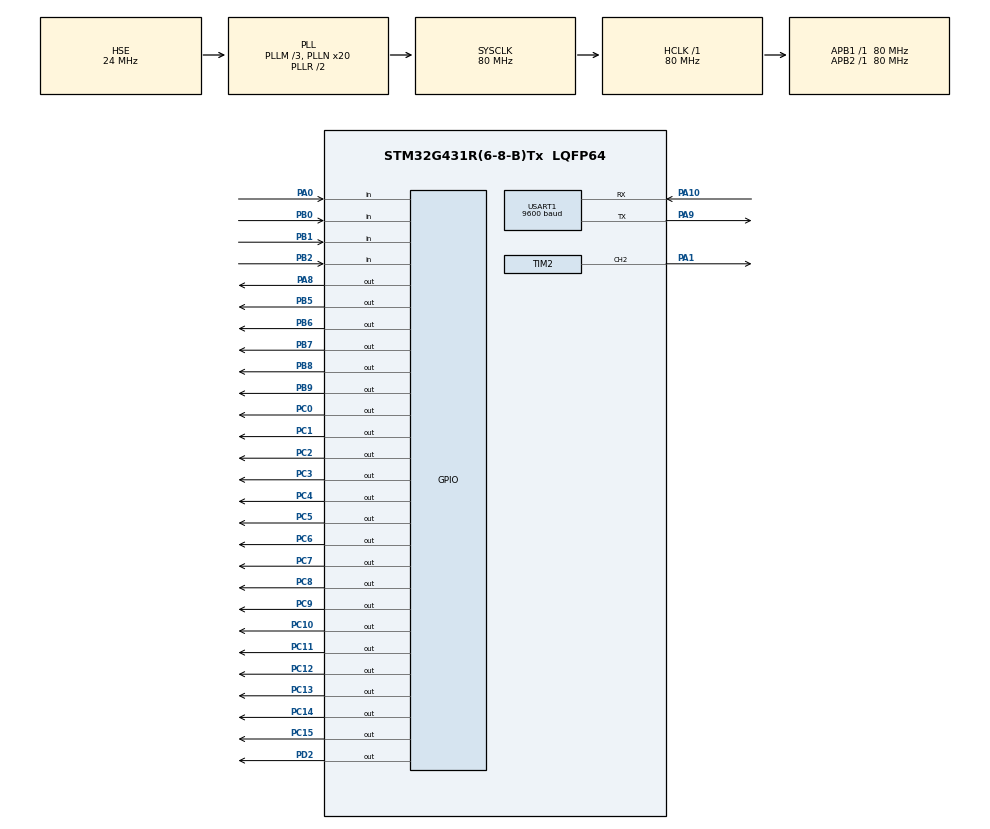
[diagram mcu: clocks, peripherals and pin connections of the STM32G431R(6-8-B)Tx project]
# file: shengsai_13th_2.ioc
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Mcu.Family=STM32G4
Mcu.Name=STM32G431R(6-8-B)Tx
Mcu.Package=LQFP64
NVIC.PriorityGroup=NVIC_PRIORITYGROUP_4
NVIC.TIM3_IRQn=true\:0\:0\:false\:false\:true\:true\:true\:true
NVIC.USART1_IRQn=true\:0\:0\:false\:false\:true\:true\:true\:true
PA0.GPIO_PuPd=GPIO_PULLUP
PA0.Signal=GPIO_Input
PA1.Signal=S_TIM2_CH2
PA10.Mode=Asynchronous
PA10.Signal=USART1_RX
PA13.Mode=Serial_Wire
PA13.Signal=SYS_JTMS-SWDIO
PA14.Mode=Serial_Wire
PA14.Signal=SYS_JTCK-SWCLK
PA8.Signal=GPIO_Output
PA9.Mode=Asynchronous
PA9.Signal=USART1_TX
PB0.GPIO_PuPd=GPIO_PULLUP
PB0.Signal=GPIO_Input
PB1.GPIO_PuPd=GPIO_PULLUP
PB1.Signal=GPIO_Input
PB2.GPIO_PuPd=GPIO_PULLUP
PB2.Signal=GPIO_Input
PB5.Signal=GPIO_Output
PB6.Signal=GPIO_Output
PB7.Signal=GPIO_Output
PB8-BOOT0.Signal=GPIO_Output
PB9.Signal=GPIO_Output
PC0.Signal=GPIO_Output
PC1.Signal=GPIO_Output
PC10.PinState=GPIO_PIN_SET
PC10.Signal=GPIO_Output
PC11.PinState=GPIO_PIN_SET
PC11.Signal=GPIO_Output
PC12.PinState=GPIO_PIN_SET
PC12.Signal=GPIO_Output
PC13.PinState=GPIO_PIN_SET
PC13.Signal=GPIO_Output
PC14-OSC32_IN.PinState=GPIO_PIN_SET
PC14-OSC32_IN.Signal=GPIO_Output
PC15-OSC32_OUT.PinState=GPIO_PIN_SET
PC15-OSC32_OUT.Signal=GPIO_Output
PC2.Signal=GPIO_Output
PC3.Signal=GPIO_Output
PC4.Signal=GPIO_Output
PC5.Signal=GPIO_Output
PC6.Signal=GPIO_Output
PC7.Signal=GPIO_Output
PC8.PinState=GPIO_PIN_SET
PC8.Signal=GPIO_Output
PC9.PinState=GPIO_PIN_SET
PC9.Signal=GPIO_Output
PD2.Signal=GPIO_Output
PF0-OSC_IN.Mode=HSE-External-Oscillator
PF0-OSC_IN.Signal=RCC_OSC_IN
PF1-OSC_OUT.Mode=HSE-External-Oscillator
PF1-OSC_OUT.Signal=RCC_OSC_OUT
ProjectManager.HeapSize=0x200
ProjectManager.StackSize=0x400
ProjectManager.TargetToolchain=MDK-ARM V5.32
RCC.ADC12Freq_Value=80000000
RCC.AHBFreq_Value=80000000
RCC.APB1Freq_Value=80000000
RCC.APB1TimFreq_Value=80000000
RCC.APB2Freq_Value=80000000
RCC.APB2TimFreq_Value=80000000
RCC.CortexFreq_Value=80000000
RCC.EXTERNAL_CLOCK_VALUE=12288000
RCC.HCLKFreq_Value=80000000
RCC.HSE_VALUE=24000000
RCC.HSI48_VALUE=48000000
RCC.HSI_VALUE=16000000
RCC.LSE_VALUE=32768
RCC.PLLM=RCC_PLLM_DIV3
RCC.PLLN=20
RCC.PLLSourceVirtual=RCC_PLLSOURCE_HSE
RCC.SYSCLKFreq_VALUE=80000000
RCC.SYSCLKSource=RCC_SYSCLKSOURCE_PLLCLK
RCC.USBFreq_Value=80000000
RCC.VCOOutputFreq_Value=160000000
SH.S_TIM2_CH2.0=TIM2_CH2,PWM Generation2 CH2
TIM2.Channel-PWM\ Generation2\ CH2=TIM_CHANNEL_2
TIM2.PeriodNoDither=100-1
TIM2.Prescaler=400-1
TIM2.PulseNoDither_2=5
TIM3.PeriodNoDither=10000-1
TIM3.Prescaler=80-1
USART1.BaudRate=9600
USART1.VirtualMode-Asynchronous=VM_ASYNC
VP_SYS_VS_DBSignals.Mode=DisableDeadBatterySignals
VP_TIM17_VS_ClockSourceINT.Mode=Enable_Timer
VP_TIM2_VS_ClockSourceINT.Mode=Internal
VP_TIM3_VS_ClockSourceINT.Mode=Internal
board=custom

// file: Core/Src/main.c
/* USER CODE BEGIN Header */
/**
  ******************************************************************************
  * @file           : main.c
  * @brief          : Main program body
  ******************************************************************************
  * @attention
  *
  * Copyright (c) 2024 STMicroelectronics.
  * All rights reserved.
  *
  * This software is licensed under terms that can be found in the LICENSE file
  * in the root directory of this software component.
  * If no LICENSE file comes with this software, it is provided AS-IS.
  *
  ******************************************************************************
  */
/* USER CODE END Header */
#include "main.h"
#include "tim.h"
#include "usart.h"
#include "gpio.h"

/* USER CODE BEGIN Includes */

#include "stdio.h"
#include "String.h"
#include "led.h"
#include "myusart.h"
#include "timer.h"
#include "lcd.h"
#include "i2c - hal.h"

/* USER CODE END Includes */

/* USER CODE BEGIN PTD */

unsigned char ucled=0x00;

unsigned char lcd_text[30];

unsigned char view=0;

__IO uint32_t uwTick_Lcd;
__IO uint32_t uwTick_Led;
__IO uint32_t uwTick_eeprom;

//商品X\Y的数量
unsigned int X_number=0;
unsigned int Y_number=0;

//商品X\Y的库存数量
unsigned int X_reserve=10;
unsigned int Y_reserve=10;

//串口输出信息
unsigned char usart_text[20];

//商品X\Y的价格
double X_price=1.0;
double Y_price=1.0;

//B4按键按下标志
unsigned char B4_flag=0;

//商品X、Y库存数量均为0标志
unsigned char Reserve_0_flag=0;

/* USER CODE END PTD */

void SystemClock_Config(void);
/* USER CODE BEGIN PFP */

void lcd_proc(void);
void key_proc(void);
void eeprom_proc(void);
void usart_proc(void);

/* USER CODE END PFP */

int main(void)
{

  /* MCU Configuration--------------------------------------------------------*/

  /* Reset of all peripherals, Initializes the Flash interface and the Systick. */
  HAL_Init();

  /* Configure the system clock */
  SystemClock_Config();

  /* Initialize all configured peripherals */
  MX_GPIO_Init();
  MX_TIM2_Init();
  MX_USART1_UART_Init();
  MX_TIM3_Init();
  MX_TIM17_Init();
  /* USER CODE BEGIN 2 */
    I2CInit();

    led_disp(ucled);

    LCD_Init();
    LCD_Clear(Black);
    LCD_SetBackColor(Black);
    LCD_SetTextColor(White);

    //使能
    HAL_TIM_Base_Start_IT(&htim3);

    //开启串口接收
    HAL_UART_Receive_IT(&huart1,&rxdat,1);

    //使能PWM
    HAL_TIM_PWM_Start(&htim2,TIM_CHANNEL_2);

    //判断是否为第一次上电
    //如果数据不是12，说明设备是第一次上电，先将初始值写入地址中，
    //再将标志位12写入地址中，表明此后将不是第一次上电。
    unsigned char value=eeprom_read(4);
    if(value!=12)//第一次上电
    {
       eeprom_proc();
       eeprom_write(4,12);
        HAL_Delay(10);
    }
    else
    {
        X_reserve=eeprom_read(0);
        HAL_Delay(10);
        Y_reserve=eeprom_read(1);
        HAL_Delay(10);
        X_price=eeprom_read(2)/10.0;
        HAL_Delay(10);
        Y_price=eeprom_read(3)/10.0;
        HAL_Delay(10);
    }

  /* USER CODE END 2 */

  /* Infinite loop */
  while (1)
  {

    /* USER CODE BEGIN 3 */
      key_proc();
      lcd_proc();
      if(rx_pointer>0)
      {
          int temp=rx_pointer;
          HAL_Delay(1);
          if(temp==rx_pointer)
              usart_proc();
      }
  }
  /* USER CODE END 3 */
}

void SystemClock_Config(void)
{
  RCC_OscInitTypeDef RCC_OscInitStruct = {0};
  RCC_ClkInitTypeDef RCC_ClkInitStruct = {0};

  /** Configure the main internal regulator output voltage
  */
  HAL_PWREx_ControlVoltageScaling(PWR_REGULATOR_VOLTAGE_SCALE1);

  /** Initializes the RCC Oscillators according to the specified parameters
  * in the RCC_OscInitTypeDef structure.
  */
  RCC_OscInitStruct.OscillatorType = RCC_OSCILLATORTYPE_HSE;
  RCC_OscInitStruct.HSEState = RCC_HSE_ON;
  RCC_OscInitStruct.PLL.PLLState = RCC_PLL_ON;
  RCC_OscInitStruct.PLL.PLLSource = RCC_PLLSOURCE_HSE;
  RCC_OscInitStruct.PLL.PLLM = RCC_PLLM_DIV3;
  RCC_OscInitStruct.PLL.PLLN = 20;
  RCC_OscInitStruct.PLL.PLLP = RCC_PLLP_DIV2;
  RCC_OscInitStruct.PLL.PLLQ = RCC_PLLQ_DIV2;
  RCC_OscInitStruct.PLL.PLLR = RCC_PLLR_DIV2;
  if (HAL_RCC_OscConfig(&RCC_OscInitStruct) != HAL_OK)
  {
    Error_Handler();
  }

  /** Initializes the CPU, AHB and APB buses clocks
  */
  RCC_ClkInitStruct.ClockType = RCC_CLOCKTYPE_HCLK|RCC_CLOCKTYPE_SYSCLK
                              |RCC_CLOCKTYPE_PCLK1|RCC_CLOCKTYPE_PCLK2;
  RCC_ClkInitStruct.SYSCLKSource = RCC_SYSCLKSOURCE_PLLCLK;
  RCC_ClkInitStruct.AHBCLKDivider = RCC_SYSCLK_DIV1;
  RCC_ClkInitStruct.APB1CLKDivider = RCC_HCLK_DIV1;
  RCC_ClkInitStruct.APB2CLKDivider = RCC_HCLK_DIV1;

  if (HAL_RCC_ClockConfig(&RCC_ClkInitStruct, FLASH_LATENCY_2) != HAL_OK)
  {
    Error_Handler();
  }
}

/* USER CODE BEGIN 4 */

void lcd_proc(void)
{
    if((uwTick-uwTick_Lcd)<100)return;
    uwTick_Lcd=uwTick;

    switch(view)
    {
        case 0://商品购买界面
            memset(lcd_text,0,sizeof(lcd_text));
            sprintf((char *)lcd_text,"        SHOP           ");
            LCD_DisplayStringLine(Line1,lcd_text);

            memset(lcd_text,0,sizeof(lcd_text));
            sprintf((char *)lcd_text,"     X:%d        ",X_number);
            LCD_DisplayStringLine(Line3,lcd_text);

            memset(lcd_text,0,sizeof(lcd_text));
            sprintf((char *)lcd_text,"     Y:%d        ",Y_number);
            LCD_DisplayStringLine(Line4,lcd_text);

            break;
        case 1://商品价格界面
            memset(lcd_text,0,sizeof(lcd_text));
            sprintf((char *)lcd_text,"        PRICE           ");
            LCD_DisplayStringLine(Line1,lcd_text);

            memset(lcd_text,0,sizeof(lcd_text));
            sprintf((char *)lcd_text,"     X:%0.1f        ",X_price);
            LCD_DisplayStringLine(Line3,lcd_text);

            memset(lcd_text,0,sizeof(lcd_text));
            sprintf((char *)lcd_text,"     Y:%0.1f        ",Y_price);
            LCD_DisplayStringLine(Line4,lcd_text);

            break;
        case 2://库存信息界面
            memset(lcd_text,0,sizeof(lcd_text));
            sprintf((char *)lcd_text,"        REP            ");
            LCD_DisplayStringLine(Line1,lcd_text);

            memset(lcd_text,0,sizeof(lcd_text));
            sprintf((char *)lcd_text,"     X:%d        ",X_reserve);
            LCD_DisplayStringLine(Line3,lcd_text);

            memset(lcd_text,0,sizeof(lcd_text));
            sprintf((char *)lcd_text,"     Y:%d        ",Y_reserve);
            LCD_DisplayStringLine(Line4,lcd_text);

            break;
    }
}

void key_proc(void)
{
    if(1==key[0].single_flag)//B1:界面切换按键
    {

        key[0].single_flag=0;

        view++;
        if(3==view)view=0;

        LCD_Clear(Black);

    }
    else if(1==key[1].single_flag)
    {
        key[1].single_flag=0;

        switch(view)
        {
            case 0://商品购买界面下
                X_number++;
                if(X_number>X_reserve)
                    X_number=0;
                break;
            case 1://商品价格界面下
                X_price+=0.1;
                if(X_price>=2.1)
                    X_price=1.0;
                eeprom_proc();
                break;
            case 2://库存信息界面下
                X_reserve++;
                eeprom_proc();
                break;
        }
    }
    else if(1==key[2].single_flag)
    {
        key[2].single_flag=0;
        switch(view)
        {
            case 0://商品购买界面下
                Y_number++;
                if(Y_number>Y_reserve)
                    Y_number=0;
                break;
            case 1://商品价格界面下
                Y_price+=0.1;
                if(Y_price>=2.1)
                    Y_price=1.0;
                eeprom_proc();
                break;
            case 2://库存信息界面下
                Y_reserve++;
                eeprom_proc();
                break;
        }
    }
    else if(1==key[3].single_flag)
    {
        key[3].single_flag=0;
        B4_flag=1;
        if(0==view)//商品购买界面下，按下B4，确认购买信息
        {
            X_reserve=X_reserve-X_number;
            Y_reserve=Y_reserve-Y_number;
            //B4按键按下后，设备串口输出购买商品数量和总价格

            double sum=X_number*X_price+Y_number*Y_price;
            memset(usart_text,0,sizeof(usart_text));
            sprintf((char *)usart_text,"X:%d,Y:%d,Z:%0.1f",X_number,Y_number,sum);

            HAL_UART_Transmit(&huart1,usart_text,sizeof(usart_text),50);

            X_number=0;
            Y_number=0;
            eeprom_proc();

        }
    }
    if((0==X_reserve)&&(0==Y_reserve))
    {
        Reserve_0_flag=1;
    }
    else
    {
        Reserve_0_flag=0;
    }
}

void eeprom_proc(void)
{
   if((uwTick-uwTick_eeprom)<50)return;
    uwTick_eeprom=uwTick;

    eeprom_write(0,X_reserve);//地址0，存储商品X库存数量
    HAL_Delay(10);

    eeprom_write(1,Y_reserve); //地址1，存储商品Y库存数量
    HAL_Delay(10);

    eeprom_write(2,X_price*10);//地址2：存储商品X单价
    HAL_Delay(10);

    eeprom_write(3,Y_price*10); //地址3：存储商品Y单价
    HAL_Delay(10);

}

void usart_proc(void)
{
    if(rx_pointer>0)
    {
        if(strcmp((char *)rxdata,"?")==0)
        {
            memset(usart_text,0,sizeof(usart_text));
            sprintf((char *)usart_text,"X:%0.1f,Y:%0.1f",X_price,Y_price);
            HAL_UART_Transmit(&huart1,usart_text,sizeof(usart_text),50);
        }
        rx_pointer=0;
        memset(rxdata,0,sizeof(rxdata));
    }
}

/* USER CODE END 4 */

void Error_Handler(void)
{
  __disable_irq();
  while (1)
  {
  }
}
